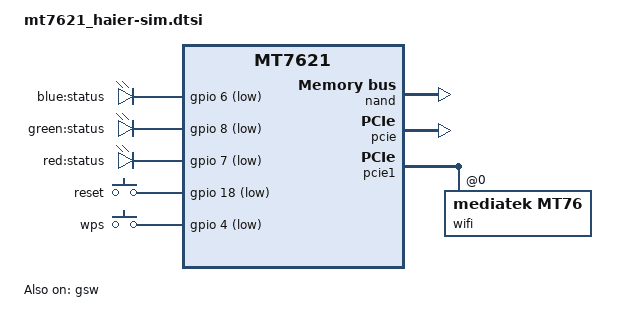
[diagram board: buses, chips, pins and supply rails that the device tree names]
// SPDX-License-Identifier: GPL-2.0-or-later OR MIT

#include "mt7621.dtsi"

#include <dt-bindings/gpio/gpio.h>
#include <dt-bindings/input/input.h>

/ {
	aliases {
		led-boot = &led_status_red;
		led-failsafe = &led_status_blue;
		led-running = &led_status_green;
		led-upgrade = &led_status_blue;
		label-mac-device = &gmac1;
	};

	chosen {
		bootargs = "console=ttyS0,115200n8";
	};

	leds {
		compatible = "gpio-leds";

		led_status_blue: led-0 {
			label = "blue:status";
			gpios = <&gpio 6 GPIO_ACTIVE_LOW>;
		};

		led_status_green: led-1 {
			label = "green:status";
			gpios = <&gpio 8 GPIO_ACTIVE_LOW>;
		};

		led_status_red: led-2 {
			label = "red:status";
			gpios = <&gpio 7 GPIO_ACTIVE_LOW>;
		};
	};

	keys {
		compatible = "gpio-keys";

		reset {
			label = "reset";
			gpios = <&gpio 18 GPIO_ACTIVE_LOW>;
			linux,code = <KEY_RESTART>;
		};

		wps {
			label = "wps";
			gpios = <&gpio 4 GPIO_ACTIVE_LOW>;
			linux,code = <KEY_WPS_BUTTON>;
		};
	};
};

&nand {
	status = "okay";

	partitions {
		compatible = "fixed-partitions";
		#address-cells = <1>;
		#size-cells = <1>;

		partition@0 {
			label = "Bootloader";
			reg = <0x0 0x80000>;
		};

		partition@80000 {
			label = "Nvram";
			reg = <0x80000 0x40000>;
			read-only;
		};

		partition@c0000 {
			label = "Bdata";
			reg = <0xc0000 0x40000>;
			read-only;
		};

		factory: partition@100000 {
			label = "factory";
			reg = <0x100000 0x80000>;
			read-only;
			
			nvmem-layout {
				compatible = "fixed-layout";
				#address-cells = <1>;
				#size-cells = <1>;

				eeprom_factory_0: eeprom@0 {
					reg = <0x0 0xe00>;
				};

				macaddr_factory_8004: macaddr@8004 {
					compatible = "mac-base";
					reg = <0x8004 0x6>;
					#nvmem-cell-cells = <1>;
				};
			};
		};

		partition@180000 {
			label = "crash";
			reg = <0x180000 0x40000>;
			read-only;
		};

		partition@1c0000 {
			label = "crash_log";
			reg = <0x1c0000 0x40000>;
			read-only;
		};

		partition@200000 {
			label = "kernel";
			reg = <0x200000 0x400000>;
		};

		partition@600000 {
			label = "ubi";
			reg = <0x600000 0x7980000>;
		};
	};
};

&pcie {
	status = "okay";
};

&pcie1 {	
	wifi@0,0 {
		compatible = "mediatek,mt76";
		reg = <0x0000 0 0 0 0>;
		nvmem-cells = <&eeprom_factory_0>;
		nvmem-cell-names = "eeprom";
		mediatek,disable-radar-background;
	};
};

&gmac0 {
	nvmem-cells = <&macaddr_factory_8004 0>;
	nvmem-cell-names = "mac-address";
};

&gmac1 {
	nvmem-cells = <&macaddr_factory_8004 (-3)>;
	nvmem-cell-names = "mac-address";
};

&gsw {
	mediatek,portmap = "llllw";
	status = "okay";
};

&hnat {
	mtketh-wan = "eth1";
	mtketh-ppd = "eth0";
	mtketh-lan = "eth0";
	mtketh-max-gmac = <2>;
	/delete-property/ mtkdsa-wan-port;
};

&switch0 {
	status = "disabled";
};

&state_default {
	gpio {
		groups = "i2c", "uart3", "wdt";
		function = "gpio";
	};
};
